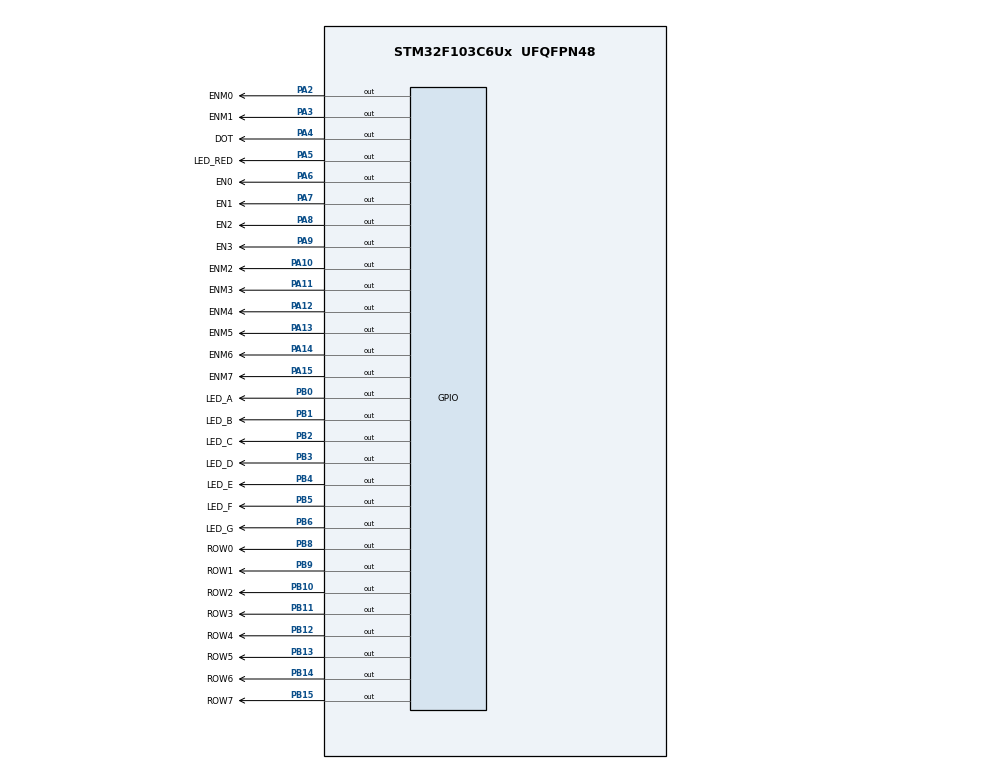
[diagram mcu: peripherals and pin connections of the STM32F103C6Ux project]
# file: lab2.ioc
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Mcu.Family=STM32F1
Mcu.Name=STM32F103C6Ux
Mcu.Package=UFQFPN48
NVIC.PriorityGroup=NVIC_PRIORITYGROUP_4
NVIC.TIM2_IRQn=true\:0\:0\:false\:false\:true\:true\:true
PA10.GPIO_Label=ENM2
PA10.Signal=GPIO_Output
PA11.GPIO_Label=ENM3
PA11.Signal=GPIO_Output
PA12.GPIO_Label=ENM4
PA12.Signal=GPIO_Output
PA13.GPIO_Label=ENM5
PA13.Signal=GPIO_Output
PA14.GPIO_Label=ENM6
PA14.Signal=GPIO_Output
PA15.GPIO_Label=ENM7
PA15.Signal=GPIO_Output
PA2.GPIO_Label=ENM0
PA2.Signal=GPIO_Output
PA3.GPIO_Label=ENM1
PA3.Signal=GPIO_Output
PA4.GPIO_Label=DOT
PA4.Signal=GPIO_Output
PA5.GPIO_Label=LED_RED
PA5.Signal=GPIO_Output
PA6.GPIO_Label=EN0
PA6.Signal=GPIO_Output
PA7.GPIO_Label=EN1
PA7.Signal=GPIO_Output
PA8.GPIO_Label=EN2
PA8.Signal=GPIO_Output
PA9.GPIO_Label=EN3
PA9.Signal=GPIO_Output
PB0.GPIO_Label=LED_A
PB0.Signal=GPIO_Output
PB1.GPIO_Label=LED_B
PB1.Signal=GPIO_Output
PB10.GPIO_Label=ROW2
PB10.Signal=GPIO_Output
PB11.GPIO_Label=ROW3
PB11.Signal=GPIO_Output
PB12.GPIO_Label=ROW4
PB12.Signal=GPIO_Output
PB13.GPIO_Label=ROW5
PB13.Signal=GPIO_Output
PB14.GPIO_Label=ROW6
PB14.Signal=GPIO_Output
PB15.GPIO_Label=ROW7
PB15.Signal=GPIO_Output
PB2.GPIO_Label=LED_C
PB2.Signal=GPIO_Output
PB3.GPIO_Label=LED_D
PB3.Signal=GPIO_Output
PB4.GPIO_Label=LED_E
PB4.Signal=GPIO_Output
PB5.GPIO_Label=LED_F
PB5.Signal=GPIO_Output
PB6.GPIO_Label=LED_G
PB6.Signal=GPIO_Output
PB8.GPIO_Label=ROW0
PB8.Signal=GPIO_Output
PB9.GPIO_Label=ROW1
PB9.Signal=GPIO_Output
ProjectManager.HeapSize=0x200
ProjectManager.StackSize=0x400
ProjectManager.TargetToolchain=STM32CubeIDE
RCC.APB1Freq_Value=8000000
RCC.APB2Freq_Value=8000000
TIM2.Period=9
TIM2.Prescaler=7999
VP_SYS_VS_ND.Mode=No_Debug
VP_TIM2_VS_ClockSourceINT.Mode=Internal
board=custom

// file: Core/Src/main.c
/* USER CODE BEGIN Header */
/**
  ******************************************************************************
  * @file           : main.c
  * @brief          : Main program body
  ******************************************************************************
  * @attention
  *
  * <h2><center>&copy; Copyright (c) 2023 STMicroelectronics.
  * All rights reserved.</center></h2>
  *
  * This software component is licensed by ST under BSD 3-Clause license,
  * the "License"; You may not use this file except in compliance with the
  * License. You may obtain a copy of the License at:
  *                        opensource.org/licenses/BSD-3-Clause
  *
  ******************************************************************************
  */
/* USER CODE END Header */
#include "main.h"
#include "software_timer.h"

TIM_HandleTypeDef htim2;

void SystemClock_Config(void);
static void MX_TIM2_Init(void);
static void MX_GPIO_Init(void);

const int MAX_LED_MATRIX = 8;
int index_led_matrix=0;
uint8_t matrix_buffer[8]= {0x00 , 0x00 , 0xff , 0x11 , 0x11 , 0x0E , 0x00 , 0x00 };
uint16_t select_pin(int index)
{
	return matrix_buffer[index]<<8;
}
void shift()
{
	uint8_t matrix_buffer1[8];
	matrix_buffer1[0]=matrix_buffer[7];
	matrix_buffer1[1]=matrix_buffer[0];
	matrix_buffer1[2]=matrix_buffer[1];
	matrix_buffer1[3]=matrix_buffer[2];
	matrix_buffer1[4]=matrix_buffer[3];
	matrix_buffer1[5]=matrix_buffer[4];
	matrix_buffer1[6]=matrix_buffer[5];
	matrix_buffer1[7]=matrix_buffer[6];
	matrix_buffer[0]=matrix_buffer1[0];
	matrix_buffer[1]=matrix_buffer1[1];
	matrix_buffer[2]=matrix_buffer1[2];
	matrix_buffer[3]=matrix_buffer1[3];
	matrix_buffer[4]=matrix_buffer1[4];
	matrix_buffer[5]=matrix_buffer1[5];
	matrix_buffer[6]=matrix_buffer1[6];
	matrix_buffer[7]=matrix_buffer1[7];
}
void setRow()
{
	HAL_GPIO_WritePin(ROW0_GPIO_Port, ROW0_Pin, SET);
	HAL_GPIO_WritePin(ROW1_GPIO_Port, ROW1_Pin, SET);
	HAL_GPIO_WritePin(ROW2_GPIO_Port, ROW2_Pin, SET);
	HAL_GPIO_WritePin(ROW3_GPIO_Port, ROW3_Pin, SET);
	HAL_GPIO_WritePin(ROW4_GPIO_Port, ROW4_Pin, SET);
	HAL_GPIO_WritePin(ROW5_GPIO_Port, ROW5_Pin, SET);
	HAL_GPIO_WritePin(ROW6_GPIO_Port, ROW6_Pin, SET);
	HAL_GPIO_WritePin(ROW7_GPIO_Port, ROW7_Pin, SET);
}
void setCol()
{
	HAL_GPIO_WritePin(ENM0_GPIO_Port, ENM0_Pin, SET);
	HAL_GPIO_WritePin(ENM1_GPIO_Port, ENM1_Pin, SET);
	HAL_GPIO_WritePin(ENM2_GPIO_Port, ENM2_Pin, SET);
	HAL_GPIO_WritePin(ENM3_GPIO_Port, ENM3_Pin, SET);
	HAL_GPIO_WritePin(ENM4_GPIO_Port, ENM4_Pin, SET);
	HAL_GPIO_WritePin(ENM5_GPIO_Port, ENM5_Pin, SET);
	HAL_GPIO_WritePin(ENM6_GPIO_Port, ENM6_Pin, SET);
	HAL_GPIO_WritePin(ENM7_GPIO_Port, ENM7_Pin, SET);
}
void updateLEDMatrix(int index)
{
	uint16_t pin = 0x0000;
	switch ( index ) {
	case 0:
		HAL_GPIO_WritePin(ENM0_GPIO_Port, ENM0_Pin, RESET);
		pin = select_pin(index);
		HAL_GPIO_WritePin(GPIOB, pin, RESET);
		 break;
	case 1:
		HAL_GPIO_WritePin(ENM1_GPIO_Port, ENM1_Pin, RESET);
		pin = select_pin(index);
		HAL_GPIO_WritePin(GPIOB, pin, RESET);
		 break;
	case 2:
		HAL_GPIO_WritePin(ENM2_GPIO_Port, ENM2_Pin, RESET);
		pin = select_pin(index);
		HAL_GPIO_WritePin(GPIOB, pin, RESET);
		break;
	case 3:
		HAL_GPIO_WritePin(ENM3_GPIO_Port, ENM3_Pin, RESET);
		pin = select_pin(index);
		HAL_GPIO_WritePin(GPIOB, pin, RESET);
		 break;
	case 4:
		HAL_GPIO_WritePin(ENM4_GPIO_Port, ENM4_Pin, RESET);
		pin = select_pin(index);
		HAL_GPIO_WritePin(GPIOB, pin, RESET);
		 break;
	case 5:
		HAL_GPIO_WritePin(ENM5_GPIO_Port, ENM5_Pin, RESET);
		pin = select_pin(index);
		HAL_GPIO_WritePin(GPIOB, pin, RESET);
		 break;
	case 6:
		HAL_GPIO_WritePin(ENM6_GPIO_Port, ENM6_Pin, RESET);
		pin = select_pin(index);
		HAL_GPIO_WritePin(GPIOB, pin, RESET);
		 break;
	case 7:
		HAL_GPIO_WritePin(ENM7_GPIO_Port, ENM7_Pin, RESET);
		pin = select_pin(index);
		HAL_GPIO_WritePin(GPIOB, pin, RESET);
		 break;
	default:
		break;
}
}
int main(void)
{

  /* MCU Configuration--------------------------------------------------------*/

  /* Reset of all peripherals, Initializes the Flash interface and the Systick. */
  HAL_Init();

  /* Configure the system clock */
  SystemClock_Config();

  /* Initialize all configured peripherals */
  MX_TIM2_Init();
  MX_GPIO_Init();
  /* USER CODE BEGIN 2 */
  HAL_TIM_Base_Start_IT(&htim2);
  /* USER CODE END 2 */

  /* Infinite loop */
  /* USER CODE BEGIN WHILE */
  setTimer1(2);
  setTimer2(2);
  int index=0;
    while (1)
    {
    	if(timer1_flag==1)
    	{
    		setRow();
    		setCol();
    		setTimer1(100);
    		if(index>=8){
    			index=0;
    		}
    		updateLEDMatrix(index);
    		index++;
    	}
    	if(timer2_flag==1)
    	{
    		setTimer2(800);
    		shift();
    	}
    }
    /* USER CODE END WHILE */

    }

void SystemClock_Config(void)
{
  RCC_OscInitTypeDef RCC_OscInitStruct = {0};
  RCC_ClkInitTypeDef RCC_ClkInitStruct = {0};

  /** Initializes the RCC Oscillators according to the specified parameters
  * in the RCC_OscInitTypeDef structure.
  */
  RCC_OscInitStruct.OscillatorType = RCC_OSCILLATORTYPE_HSI;
  RCC_OscInitStruct.HSIState = RCC_HSI_ON;
  RCC_OscInitStruct.HSICalibrationValue = RCC_HSICALIBRATION_DEFAULT;
  RCC_OscInitStruct.PLL.PLLState = RCC_PLL_NONE;
  if (HAL_RCC_OscConfig(&RCC_OscInitStruct) != HAL_OK)
  {
    Error_Handler();
  }
  /** Initializes the CPU, AHB and APB buses clocks
  */
  RCC_ClkInitStruct.ClockType = RCC_CLOCKTYPE_HCLK|RCC_CLOCKTYPE_SYSCLK
                              |RCC_CLOCKTYPE_PCLK1|RCC_CLOCKTYPE_PCLK2;
  RCC_ClkInitStruct.SYSCLKSource = RCC_SYSCLKSOURCE_HSI;
  RCC_ClkInitStruct.AHBCLKDivider = RCC_SYSCLK_DIV1;
  RCC_ClkInitStruct.APB1CLKDivider = RCC_HCLK_DIV1;
  RCC_ClkInitStruct.APB2CLKDivider = RCC_HCLK_DIV1;

  if (HAL_RCC_ClockConfig(&RCC_ClkInitStruct, FLASH_LATENCY_0) != HAL_OK)
  {
    Error_Handler();
  }
}

static void MX_TIM2_Init(void)
{

  TIM_ClockConfigTypeDef sClockSourceConfig = {0};
  TIM_MasterConfigTypeDef sMasterConfig = {0};

  htim2.Instance = TIM2;
  htim2.Init.Prescaler = 7999;
  htim2.Init.CounterMode = TIM_COUNTERMODE_UP;
  htim2.Init.Period = 9;
  htim2.Init.ClockDivision = TIM_CLOCKDIVISION_DIV1;
  htim2.Init.AutoReloadPreload = TIM_AUTORELOAD_PRELOAD_DISABLE;
  if (HAL_TIM_Base_Init(&htim2) != HAL_OK)
  {
    Error_Handler();
  }
  sClockSourceConfig.ClockSource = TIM_CLOCKSOURCE_INTERNAL;
  if (HAL_TIM_ConfigClockSource(&htim2, &sClockSourceConfig) != HAL_OK)
  {
    Error_Handler();
  }
  sMasterConfig.MasterOutputTrigger = TIM_TRGO_RESET;
  sMasterConfig.MasterSlaveMode = TIM_MASTERSLAVEMODE_DISABLE;
  if (HAL_TIMEx_MasterConfigSynchronization(&htim2, &sMasterConfig) != HAL_OK)
  {
    Error_Handler();
  }

}

static void MX_GPIO_Init(void)
{
  GPIO_InitTypeDef GPIO_InitStruct = {0};

  /* GPIO Ports Clock Enable */
  __HAL_RCC_GPIOA_CLK_ENABLE();
  __HAL_RCC_GPIOB_CLK_ENABLE();

  /*Configure GPIO pin Output Level */
  HAL_GPIO_WritePin(GPIOA, ENM0_Pin|ENM1_Pin|DOT_Pin|LED_RED_Pin
                          |EN0_Pin|EN1_Pin|EN2_Pin|EN3_Pin
                          |ENM2_Pin|ENM3_Pin|ENM4_Pin|ENM5_Pin
                          |ENM6_Pin|ENM7_Pin, GPIO_PIN_RESET);

  /*Configure GPIO pin Output Level */
  HAL_GPIO_WritePin(GPIOB, LED_A_Pin|LED_B_Pin|LED_C_Pin|ROW2_Pin
                          |ROW3_Pin|ROW4_Pin|ROW5_Pin|ROW6_Pin
                          |ROW7_Pin|LED_D_Pin|LED_E_Pin|LED_F_Pin
                          |LED_G_Pin|ROW0_Pin|ROW1_Pin, GPIO_PIN_RESET);

  /*Configure GPIO pins : ENM0_Pin ENM1_Pin DOT_Pin LED_RED_Pin
                           EN0_Pin EN1_Pin EN2_Pin EN3_Pin
                           ENM2_Pin ENM3_Pin ENM4_Pin ENM5_Pin
                           ENM6_Pin ENM7_Pin */
  GPIO_InitStruct.Pin = ENM0_Pin|ENM1_Pin|DOT_Pin|LED_RED_Pin
                          |EN0_Pin|EN1_Pin|EN2_Pin|EN3_Pin
                          |ENM2_Pin|ENM3_Pin|ENM4_Pin|ENM5_Pin
                          |ENM6_Pin|ENM7_Pin;
  GPIO_InitStruct.Mode = GPIO_MODE_OUTPUT_PP;
  GPIO_InitStruct.Pull = GPIO_NOPULL;
  GPIO_InitStruct.Speed = GPIO_SPEED_FREQ_LOW;
  HAL_GPIO_Init(GPIOA, &GPIO_InitStruct);

  /*Configure GPIO pins : LED_A_Pin LED_B_Pin LED_C_Pin ROW2_Pin
                           ROW3_Pin ROW4_Pin ROW5_Pin ROW6_Pin
                           ROW7_Pin LED_D_Pin LED_E_Pin LED_F_Pin
                           LED_G_Pin ROW0_Pin ROW1_Pin */
  GPIO_InitStruct.Pin = LED_A_Pin|LED_B_Pin|LED_C_Pin|ROW2_Pin
                          |ROW3_Pin|ROW4_Pin|ROW5_Pin|ROW6_Pin
                          |ROW7_Pin|LED_D_Pin|LED_E_Pin|LED_F_Pin
                          |LED_G_Pin|ROW0_Pin|ROW1_Pin;
  GPIO_InitStruct.Mode = GPIO_MODE_OUTPUT_PP;
  GPIO_InitStruct.Pull = GPIO_NOPULL;
  GPIO_InitStruct.Speed = GPIO_SPEED_FREQ_LOW;
  HAL_GPIO_Init(GPIOB, &GPIO_InitStruct);

}

/* USER CODE BEGIN 4 */
void HAL_TIM_PeriodElapsedCallback ( TIM_HandleTypeDef * htim )
{
	timerRun();
}
/* USER CODE END 4 */

void Error_Handler(void)
{
  __disable_irq();
  while (1)
  {
  }
}

/************************ (C) COPYRIGHT STMicroelectronics *****END OF FILE****/
